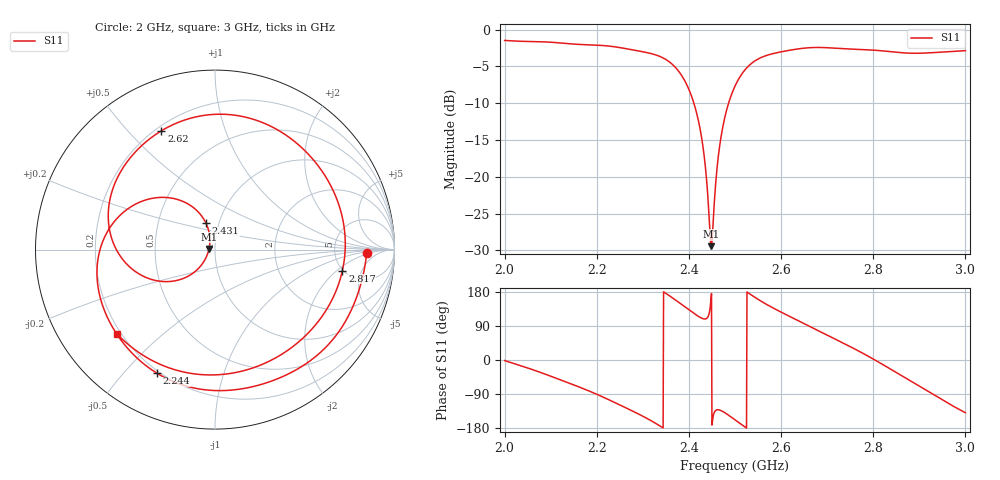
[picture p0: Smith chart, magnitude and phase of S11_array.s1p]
! openEMS
# GHZ S MA R 50
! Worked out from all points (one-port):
!   1001 points, 2 GHz to 3 GHz, reference 50 ohm
!   lowest |S11| = -29.4 dB at 2.449 GHz (marker M1), VSWR 1.07, Z = 46.7 + j0.264 ohm
!   |S11| at or under -10 dB: 2.411 GHz to 2.486 GHz (75.23 MHz wide, 3.07 % of centre)
!   S11 on the Smith chart (normalised r, x): 2 GHz: 12, -2; 2.244 GHz: 0.19, -0.62; 2.431 GHz: 0.87, +0.26; 2.62 GHz: 0.22, +0.62; 2.817 GHz: 4.93, -2.39; 3 GHz: 0.18, -0.36
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2  0.8449 -1.4
2.066  0.8298 -27.7
2.125  0.8102 -54.1
2.192  0.787 -86.2
2.244  0.7609 -115.1
2.25  0.7557 -118.5
2.323  0.6813 -163.7
2.349  0.6298 176.6
2.375  0.5348 154.7
2.409  0.3295 124.5
2.431  0.156 108.9
2.445  0.04566 129.4
2.449  0.0338 175.2
2.452  0.04545 -152.6
2.462  0.1228 -131.2
2.47  0.1894 -133.7
2.5  0.4137 -157.9
2.526  0.5525 179.4
2.551  0.6341 159.4
2.62  0.7261 114.3
2.625  0.7306 111.3
2.683  0.7571 75.9
2.75  0.7389 35.3
2.785  0.7312 12.7
2.817  0.7193 -9.4
2.875  0.6931 -50.8
2.936  0.7001 -95.2
3  0.7204 -139.1
